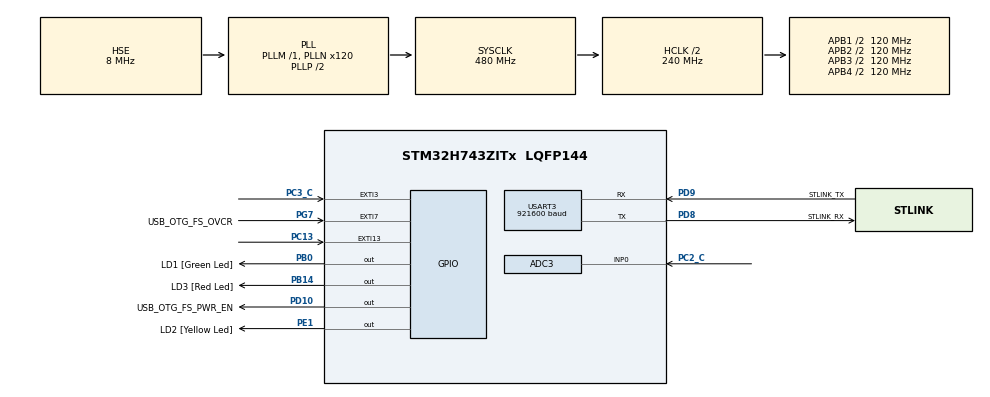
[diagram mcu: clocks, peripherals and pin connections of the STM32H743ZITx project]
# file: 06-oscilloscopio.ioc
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ADC3.Channel-0\#ChannelRegularConversion=ADC_CHANNEL_TEMPSENSOR
ADC3.ExternalTrigConv=ADC_EXTERNALTRIG_T2_TRGO
ADC3.NbrOfConversionFlag=1
ADC3.OffsetNumber-0\#ChannelRegularConversion=ADC_OFFSET_NONE
ADC3.OffsetSignedSaturation-0\#ChannelRegularConversion=DISABLE
ADC3.Rank-0\#ChannelRegularConversion=1
ADC3.SamplingTime-0\#ChannelRegularConversion=ADC_SAMPLETIME_1CYCLE_5
Dma.ADC3.0.Direction=DMA_PERIPH_TO_MEMORY
Dma.ADC3.0.EventEnable=DISABLE
Dma.ADC3.0.FIFOMode=DMA_FIFOMODE_DISABLE
Dma.ADC3.0.Instance=DMA2_Stream0
Dma.ADC3.0.MemDataAlignment=DMA_MDATAALIGN_HALFWORD
Dma.ADC3.0.MemInc=DMA_MINC_ENABLE
Dma.ADC3.0.Mode=DMA_NORMAL
Dma.ADC3.0.PeriphDataAlignment=DMA_PDATAALIGN_HALFWORD
Dma.ADC3.0.PeriphInc=DMA_PINC_DISABLE
Dma.ADC3.0.Polarity=HAL_DMAMUX_REQ_GEN_RISING
Dma.ADC3.0.Priority=DMA_PRIORITY_LOW
Dma.ADC3.0.RequestNumber=1
Dma.ADC3.0.SignalID=NONE
Dma.ADC3.0.SyncEnable=DISABLE
Dma.ADC3.0.SyncPolarity=HAL_DMAMUX_SYNC_NO_EVENT
Dma.ADC3.0.SyncRequestNumber=1
Dma.ADC3.0.SyncSignalID=NONE
Dma.Request0=ADC3
Dma.Request1=USART3_TX
Dma.USART3_TX.1.Direction=DMA_MEMORY_TO_PERIPH
Dma.USART3_TX.1.EventEnable=DISABLE
Dma.USART3_TX.1.FIFOMode=DMA_FIFOMODE_DISABLE
Dma.USART3_TX.1.Instance=DMA1_Stream3
Dma.USART3_TX.1.MemDataAlignment=DMA_MDATAALIGN_BYTE
Dma.USART3_TX.1.MemInc=DMA_MINC_ENABLE
Dma.USART3_TX.1.Mode=DMA_NORMAL
Dma.USART3_TX.1.PeriphDataAlignment=DMA_PDATAALIGN_BYTE
Dma.USART3_TX.1.PeriphInc=DMA_PINC_DISABLE
Dma.USART3_TX.1.Polarity=HAL_DMAMUX_REQ_GEN_RISING
Dma.USART3_TX.1.Priority=DMA_PRIORITY_LOW
Dma.USART3_TX.1.RequestNumber=1
Dma.USART3_TX.1.SignalID=NONE
Dma.USART3_TX.1.SyncEnable=DISABLE
Dma.USART3_TX.1.SyncPolarity=HAL_DMAMUX_SYNC_NO_EVENT
Dma.USART3_TX.1.SyncRequestNumber=1
Dma.USART3_TX.1.SyncSignalID=NONE
Mcu.Family=STM32H7
Mcu.Name=STM32H743ZITx
Mcu.Package=LQFP144
NVIC.ADC3_IRQn=true\:0\:0\:false\:false\:true\:true\:true\:true
NVIC.DMA1_Stream3_IRQn=true\:0\:0\:false\:false\:true\:false\:true\:true
NVIC.DMA2_Stream0_IRQn=true\:0\:0\:false\:false\:true\:false\:true\:true
NVIC.EXTI15_10_IRQn=true\:0\:0\:false\:false\:true\:true\:true\:true
NVIC.EXTI3_IRQn=true\:0\:0\:false\:false\:true\:true\:true\:true
NVIC.PriorityGroup=NVIC_PRIORITYGROUP_4
NVIC.TIM3_IRQn=true\:0\:0\:false\:false\:true\:true\:true\:true
NVIC.USART3_IRQn=true\:0\:0\:false\:false\:true\:true\:true\:true
PB0.GPIO_Label=LD1 [Green Led]
PB0.Signal=GPIO_Output
PB14.GPIO_Label=LD3 [Red Led]
PB14.Signal=GPIO_Output
PC13.Signal=GPXTI13
PC2_C.Mode=IN0-Single-Ended
PC2_C.Signal=ADC3_INP0
PC3_C.Signal=GPXTI3
PD10.GPIO_Label=USB_OTG_FS_PWR_EN
PD10.Signal=GPIO_Output
PD8.GPIO_Label=STLINK_RX
PD8.Mode=Asynchronous
PD8.Signal=USART3_TX
PD9.GPIO_Label=STLINK_TX
PD9.Mode=Asynchronous
PD9.Signal=USART3_RX
PE1.GPIO_Label=LD2 [Yellow Led]
PE1.Signal=GPIO_Output
PG7.GPIO_Label=USB_OTG_FS_OVCR
PG7.Signal=GPXTI7
PH0-OSC_IN\ (PH0).Mode=HSE-External-Clock-Source
PH0-OSC_IN\ (PH0).Signal=RCC_OSC_IN
ProjectManager.HeapSize=0x200
ProjectManager.StackSize=0x400
ProjectManager.TargetToolchain=STM32CubeIDE
RCC.ADCFreq_Value=75000000
RCC.APB1Freq_Value=120000000
RCC.APB2Freq_Value=120000000
RCC.APB3Freq_Value=120000000
RCC.APB4Freq_Value=120000000
RCC.CortexFreq_Value=480000000
RCC.D1PPRE=RCC_APB3_DIV2
RCC.D2PPRE1=RCC_APB1_DIV2
RCC.D2PPRE2=RCC_APB2_DIV2
RCC.D3PPRE=RCC_APB4_DIV2
RCC.DIVM1=1
RCC.DIVM2=1
RCC.DIVN1=120
RCC.DIVN2=18
RCC.HCLKFreq_Value=240000000
RCC.HPRE=RCC_HCLK_DIV2
RCC.HSE_VALUE=8000000
RCC.PLL2FRACN=6144
RCC.PLL3FRACN=0
RCC.PLLFRACN=0
RCC.PLLSourceVirtual=RCC_PLLSOURCE_HSE
RCC.PWR_Regulator_Voltage_Scale=PWR_REGULATOR_VOLTAGE_SCALE0
RCC.SYSCLKFreq_VALUE=480000000
RCC.SYSCLKSource=RCC_SYSCLKSOURCE_PLLCLK
RCC.USBFreq_Value=480000000
TIM2.TIM_MasterOutputTrigger=TIM_TRGO_UPDATE
TIM3.TIM_MasterOutputTrigger=TIM_TRGO_OC1REF
USART3.BaudRate=921600
USART3.VirtualMode-Asynchronous=VM_ASYNC
VP_ADC3_TempSens_Input.Mode=IN-TempSens
VP_ADC3_Vref_Input.Mode=IN-Vrefint
VP_MEMORYMAP_VS_MEMORYMAP.Mode=CurAppReg
VP_TIM2_VS_ClockSourceINT.Mode=Internal
VP_TIM3_VS_ClockSourceITR.Mode=TriggerSource_ITR1
VP_TIM3_VS_ControllerModeClock.Mode=Clock Mode
VP_TIM4_VS_ClockSourceITR.Mode=TriggerSource_ITR1
VP_TIM4_VS_ControllerModeClock.Mode=Clock Mode
board=NUCLEO-H743ZI2

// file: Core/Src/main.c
/* USER CODE BEGIN Header */
/**
  ******************************************************************************
  * @file           : main.c
  * @brief          : Main program body
  ******************************************************************************
  * @attention
  *
  * Copyright (c) 2024 STMicroelectronics.
  * All rights reserved.
  *
  * This software is licensed under terms that can be found in the LICENSE file
  * in the root directory of this software component.
  * If no LICENSE file comes with this software, it is provided AS-IS.
  *
  ******************************************************************************
  */
/* USER CODE END Header */
#include "main.h"

/* USER CODE BEGIN Includes */
#include "lz_adc.h"
#include "lz_serial.h"
#include "lz_uart.h"
/* USER CODE END Includes */

/* USER CODE BEGIN PD */
#define LZ_VREFINT 19
#define LZ_VSIGNAL 0
/* USER CODE END PD */

/* USER CODE BEGIN PM */
#define MIN(a, b) (((a) < (b)) ? (a) : (b))
#define MAX(a, b) (((a) > (b)) ? (a) : (b))
/* USER CODE END PM */

ADC_HandleTypeDef hadc3;
DMA_HandleTypeDef hdma_adc3;

TIM_HandleTypeDef htim2;
TIM_HandleTypeDef htim3;
TIM_HandleTypeDef htim4;

UART_HandleTypeDef huart3;
DMA_HandleTypeDef hdma_usart3_tx;

/* USER CODE BEGIN PV */
volatile uint16_t gBuffer[1024];
static_assert((sizeof(gBuffer) & (sizeof(gBuffer) - 1)) == 0, "Queue size must be a power of 2");

volatile uint32_t still_to_transmit = 0;
volatile uint8_t is_tx_transmitting_dma = 0;
volatile uint8_t is_triggered = 0;
volatile uint8_t manual_trigger = 0;
uint32_t missed_triggers = 0;
/* USER CODE END PV */

void SystemClock_Config(void);
static void MX_GPIO_Init(void);
static void MX_DMA_Init(void);
static void MX_ADC3_Init(void);
static void MX_USART3_UART_Init(void);
static void MX_TIM2_Init(void);
static void MX_TIM3_Init(void);
static void MX_TIM4_Init(void);

/* USER CODE BEGIN 0 */
struct lz_settings
{
	uint32_t arr;
	uint16_t total_points;
	int16_t trigger_offset;
	uint8_t trigger_source;
	uint8_t continuous_mode;
	uint16_t threshold_high;
	uint16_t threshold_low;
} gSettings;

enum {
	LZ_IDLE, LZ_SEND_SETTINGS, LZ_UPDATE_SETTINGS, LZ_MISSED_TRIGGERS
} gState = LZ_IDLE;

volatile uint8_t gRxReadingData = 0;
uint8_t __lz_serial_new_character_read(char c) {
	if (!gRxReadingData)
	{
		switch (c) {
		case 'u':
			gState = LZ_UPDATE_SETTINGS;
			return 1;
		case 's':
			gState = LZ_SEND_SETTINGS;
			return 1;
		case 'm':
			gState = LZ_MISSED_TRIGGERS;
			return 1;
		case 't':
			//void onTrigger(void);
			manual_trigger = 1;
			//onTrigger();
			return 1;
		default:
			break;
		}
	}

	return 0;
}

void __lz_serial_error_tx_buffer_full(void) {
	GPIOE->BSRR = GPIO_BSRR_BS1;
}

void __lz_serial_error_rx_buffer_full(void) {
	GPIOB->BSRR = GPIO_BSRR_BS14;
	Error_Handler();
}

void applySettings(const struct lz_settings* settings)
{
	assert(!(ADC3->CR & ADC_CR_ADSTART)); // check ADC not measuring

	// configure sampling frequency
	TIM2->ARR = settings->arr;
	TIM2->CNT = 0;

	// configure pretrigger / trigger delay
	TIM3->ARR = settings->total_points + settings->trigger_offset;

	// configure DMA lost conversion check
	TIM4->ARR = sizeof(gBuffer) / sizeof(uint16_t) - 1;

	// TODO: configure continuous mode (don't know what I wanted to implement)

	// configure trigger
	ADC3->IER &= ~(ADC_IER_AWD2IE | ADC_IER_AWD3IE);
	EXTI->IMR1 &= ~EXTI_IMR1_IM3;

	switch (settings->trigger_source)
	{
	case 1:
		break;

	case 2:
		ADC3->LTR2 = settings->threshold_low;
		ADC3->HTR2 = 0xFFFF;
		ADC3->LTR3 = 0;
		ADC3->HTR3 = settings->threshold_high;

		ADC3->IER = ADC_IER_AWD3IE;
		break;

	case 3:
		EXTI->IMR1 |= EXTI_IMR1_IM3;
		break;

	default:
	}

	is_triggered = 0;
}

void startAdc(void)
{
	ADC3->CR |= ADC_CR_ADSTART;
	TIM2->CR1 |= TIM_CR1_CEN;
}

void startCircularBuffer(void)
{
	// Setup ADC circular buffer
	DMA2_Stream0->PAR = (uint32_t)&ADC3->DR;
	DMA2_Stream0->M0AR = (uint32_t)&gBuffer;
	DMA2_Stream0->NDTR = sizeof(gBuffer) / sizeof(uint16_t);
	DMA2_Stream0->CR |= DMA_SxCR_CIRC;

	// Clear flags
	DMA2->LIFCR = DMA_LIFCR_CDMEIF0 | DMA_LIFCR_CFEIF0 | DMA_LIFCR_CHTIF0 | DMA_LIFCR_CTCIF0 | DMA_LIFCR_CTEIF0;

	// Enable check and circular buffer
	TIM2->CR1 &= ~TIM_CR1_CEN;

	TIM4->CR1 |= TIM_CR1_CEN;
	DMA2_Stream0->CR |= DMA_SxCR_EN;
	TIM4->CNT = sizeof(gBuffer) / sizeof(uint16_t) - DMA2_Stream0->NDTR;

	TIM2->CR1 |= TIM_CR1_CEN;
}

void stopAll(void)
{
	TIM2->CR1 &= ~TIM_CR1_CEN; // sample clock
	TIM3->CR1 &= ~TIM_CR1_CEN; // pretrigger clock
	TIM4->CR1 &= ~TIM_CR1_CEN; // DMA circular buffer check

	ADC3->CR |= ADC_CR_ADSTP;

	DMA2_Stream0->CR &= ~DMA_SxCR_EN;

	// Wait for ADC to stop, ADC DMA to stop and USART DMA transmission to stop (wait for end of tx)
	while ((ADC3->CR & ADC_CR_ADSTART) || (DMA2_Stream0->CR & DMA_SxCR_EN) || is_tx_transmitting_dma)
	{}
}

void onTrigger(void)
{
	if (is_triggered)
	{
		return;
	}

	if (is_tx_transmitting_dma)
	{
		missed_triggers++;
		return;
	}

	if (gSettings.trigger_source == 2 && !gSettings.continuous_mode && !manual_trigger)
	{
		return;
	}

	manual_trigger = 0;
	is_triggered = 1;

	TIM3->CNT = 1;// + (gSettings.trigger_source == 2) * (TIM2->CNT - cnt1); // start counting post-trigger
	TIM3->CR1 |= TIM_CR1_CEN;
	//TIM3->CNT = 1 + (gSettings.trigger_source == 2) * (TIM2->CNT - cnt1); // start counting post-trigger

	GPIOB->BSRR = GPIO_BSRR_BS0;
}

void onEndMeasurement(void)
{
	if (!is_triggered)
		return;

	// stop DMA ADC and TIM4
	TIM2->CR1 &= ~TIM_CR1_CEN;

	TIM4->CR1 &= ~TIM_CR1_CEN;
	DMA2_Stream0->CR &= ~DMA_SxCR_EN;

	//TIM2->CR1 |= TIM_CR1_CEN;

	// check if DMA and TIM4 are in sync
	uint32_t succ_idx = sizeof(gBuffer)/sizeof(uint16_t) - DMA2_Stream0->NDTR;
	uint32_t timer_idx = TIM4->CNT;
	if (succ_idx - timer_idx > 2)
	{
		//Error_Handler();
	}

	uint16_t init_idx = (succ_idx - gSettings.total_points) & (sizeof(gBuffer) / sizeof(uint16_t) - 1);
	uint16_t till_end = sizeof(gBuffer)/sizeof(uint16_t) - init_idx;

	uint16_t num_to_read = MIN(gSettings.total_points, till_end);
	still_to_transmit = MAX(0, (int32_t)gSettings.total_points - (int32_t)num_to_read);

	// enable USART3 DMA
	is_tx_transmitting_dma = 1;

	DMA1_Stream3->PAR = (uint32_t)&USART3->TDR;
	DMA1_Stream3->M0AR = (uint32_t)(gBuffer + init_idx);
	DMA1_Stream3->NDTR = num_to_read * sizeof(uint16_t);
	USART3->CR3 |= USART_CR3_DMAT;

	DMA1->LIFCR = DMA_LIFCR_CDMEIF3 | DMA_LIFCR_CFEIF3 | DMA_LIFCR_CHTIF3 | DMA_LIFCR_CTCIF3 | DMA_LIFCR_CTEIF3;

	DMA1_Stream3->CR |= DMA_SxCR_EN;
}

void onTxTransmissionComplete(void)
{
	if (still_to_transmit > 0)
	{
		// Transmit remaining measurements
		DMA1_Stream3->PAR = (uint32_t)&USART3->TDR;
		DMA1_Stream3->M0AR = (uint32_t)&gBuffer;
		DMA1_Stream3->NDTR = still_to_transmit * sizeof(uint16_t);
		USART3->CR3 |= USART_CR3_DMAT;

		DMA1->LIFCR = DMA_LIFCR_CDMEIF3 | DMA_LIFCR_CFEIF3 | DMA_LIFCR_CHTIF3 | DMA_LIFCR_CTCIF3 | DMA_LIFCR_CTEIF3;

		still_to_transmit = 0;

		DMA1_Stream3->CR |= DMA_SxCR_EN;
	}
	else
	{
		// Done
		is_tx_transmitting_dma = 0;
		is_triggered = 0;

		// Reharm only if ADC is running
		if (ADC3->CR & ADC_CR_ADSTART)
		{
			GPIOB->BSRR = GPIO_BSRR_BR0;
			startCircularBuffer();
			startAdc();
		}
	}
}

/* USER CODE END 0 */

int main(void)
{

  /* MCU Configuration--------------------------------------------------------*/

  /* Reset of all peripherals, Initializes the Flash interface and the Systick. */
  HAL_Init();

  /* Configure the system clock */
  SystemClock_Config();

  /* Initialize all configured peripherals */
  MX_GPIO_Init();
  MX_DMA_Init();
  MX_ADC3_Init();
  MX_USART3_UART_Init();
  MX_TIM2_Init();
  MX_TIM3_Init();
  MX_TIM4_Init();
  /* USER CODE BEGIN 2 */

  // Setup ADC
  lz_adc_prepare_channel(LZ_VREFINT, LZ_ST_810_5_CLOCK);
  lz_adc_prepare_channel(LZ_VSIGNAL, LZ_ST_1_5_CLOCK);

  lz_adc_calibration();
  lz_adc_enable();
  LZ_ADC_SEQUENCE(LZ_VSIGNAL);

  // Monitor VSIGNAL with AWD2 and AWD3
  ADC3->AWD2CR = 1 << LZ_VSIGNAL;
  ADC3->AWD3CR = 1 << LZ_VSIGNAL;

  ADC3->IER |= ADC_IER_OVRIE;

  // Configure circular mode DMA
  ADC3->CFGR |= 3 << ADC_CFGR_DMNGT_Pos;

  // Overrun mode (debug purpose only)
  ADC3->CFGR |= ADC_CFGR_OVRMOD;

  // Enable TIM3 interrupt (end of post-trigger)
  TIM3->DIER |= TIM_DIER_UIE;
  TIM3->CR1 |= TIM_CR1_OPM;

  // Enable USART
  lz_uart_setup();
  lz_uart_tx_disable_interrupt();

  USART3->CR3 |= USART_CR3_DMAT;
  DMA1_Stream3->CR |= DMA_SxCR_TCIE;

  // Initial settings
  gSettings.arr = 95000;
  gSettings.continuous_mode = 1;
  gSettings.threshold_high = 21845;
  gSettings.threshold_low = 16384;
  gSettings.total_points = 256;
  gSettings.trigger_offset = 0;
  gSettings.trigger_source = 3;

  applySettings(&gSettings);

  startCircularBuffer();
  startAdc();

  /* USER CODE END 2 */

  /* Infinite loop */
  while (1)
  {

    /* USER CODE BEGIN 3 */
	  switch (gState)
	  {
	  case LZ_SEND_SETTINGS:
		  stopAll();
		  lz_uart_tx_enable_interrupt();

		  lz_serial_send_binary(&gSettings.arr, sizeof(gSettings.arr));
		  lz_serial_send_binary(&gSettings.total_points, sizeof(gSettings.total_points));
		  lz_serial_send_binary(&gSettings.trigger_offset, sizeof(gSettings.trigger_offset));
		  lz_serial_send_binary(&gSettings.continuous_mode, sizeof(gSettings.continuous_mode));
		  lz_serial_send_binary(&gSettings.trigger_source, sizeof(gSettings.trigger_source));

		  lz_serial_send_binary(&gSettings.threshold_high, sizeof(gSettings.threshold_high));
		  lz_serial_send_binary(&gSettings.threshold_low, sizeof(gSettings.threshold_low));

		  lz_uart_tx_disable_interrupt();

		  startAdc();
		  startCircularBuffer();

		  gState = LZ_IDLE;
		  break;

	  case LZ_UPDATE_SETTINGS:
		  stopAll();

		  gRxReadingData = 1;
		  lz_serial_read(&gSettings.arr, sizeof(gSettings.arr));
		  lz_serial_read(&gSettings.total_points, sizeof(gSettings.total_points));
		  lz_serial_read(&gSettings.trigger_offset, sizeof(gSettings.trigger_offset));
		  lz_serial_read(&gSettings.continuous_mode, sizeof(gSettings.continuous_mode));
		  lz_serial_read(&gSettings.trigger_source, sizeof(gSettings.trigger_source));

		  lz_serial_read(&gSettings.threshold_high, sizeof(gSettings.threshold_high));
		  lz_serial_read(&gSettings.threshold_low, sizeof(gSettings.threshold_low));

		  gRxReadingData = 0;

		  applySettings(&gSettings);
		  startAdc();
		  startCircularBuffer();

		  gState = LZ_IDLE;
		  break;

	  case LZ_MISSED_TRIGGERS:
		  stopAll();
		  lz_uart_tx_enable_interrupt();

		  lz_serial_send_binary(&missed_triggers, sizeof(missed_triggers));

		  lz_uart_tx_disable_interrupt();

		  startAdc();
		  startCircularBuffer();

		  gState = LZ_IDLE;
		  break;

	  case LZ_IDLE:
		  break;
	  }
  }
  /* USER CODE END 3 */
}

void SystemClock_Config(void)
{
  RCC_OscInitTypeDef RCC_OscInitStruct = {0};
  RCC_ClkInitTypeDef RCC_ClkInitStruct = {0};

  /** Supply configuration update enable
  */
  HAL_PWREx_ConfigSupply(PWR_LDO_SUPPLY);

  /** Configure the main internal regulator output voltage
  */
  __HAL_PWR_VOLTAGESCALING_CONFIG(PWR_REGULATOR_VOLTAGE_SCALE1);

  while(!__HAL_PWR_GET_FLAG(PWR_FLAG_VOSRDY)) {}

  __HAL_RCC_SYSCFG_CLK_ENABLE();
  __HAL_PWR_VOLTAGESCALING_CONFIG(PWR_REGULATOR_VOLTAGE_SCALE0);

  while(!__HAL_PWR_GET_FLAG(PWR_FLAG_VOSRDY)) {}

  /** Initializes the RCC Oscillators according to the specified parameters
  * in the RCC_OscInitTypeDef structure.
  */
  RCC_OscInitStruct.OscillatorType = RCC_OSCILLATORTYPE_HSE;
  RCC_OscInitStruct.HSEState = RCC_HSE_BYPASS;
  RCC_OscInitStruct.PLL.PLLState = RCC_PLL_ON;
  RCC_OscInitStruct.PLL.PLLSource = RCC_PLLSOURCE_HSE;
  RCC_OscInitStruct.PLL.PLLM = 1;
  RCC_OscInitStruct.PLL.PLLN = 120;
  RCC_OscInitStruct.PLL.PLLP = 2;
  RCC_OscInitStruct.PLL.PLLQ = 2;
  RCC_OscInitStruct.PLL.PLLR = 2;
  RCC_OscInitStruct.PLL.PLLRGE = RCC_PLL1VCIRANGE_3;
  RCC_OscInitStruct.PLL.PLLVCOSEL = RCC_PLL1VCOWIDE;
  RCC_OscInitStruct.PLL.PLLFRACN = 0;
  if (HAL_RCC_OscConfig(&RCC_OscInitStruct) != HAL_OK)
  {
    Error_Handler();
  }

  /** Initializes the CPU, AHB and APB buses clocks
  */
  RCC_ClkInitStruct.ClockType = RCC_CLOCKTYPE_HCLK|RCC_CLOCKTYPE_SYSCLK
                              |RCC_CLOCKTYPE_PCLK1|RCC_CLOCKTYPE_PCLK2
                              |RCC_CLOCKTYPE_D3PCLK1|RCC_CLOCKTYPE_D1PCLK1;
  RCC_ClkInitStruct.SYSCLKSource = RCC_SYSCLKSOURCE_PLLCLK;
  RCC_ClkInitStruct.SYSCLKDivider = RCC_SYSCLK_DIV1;
  RCC_ClkInitStruct.AHBCLKDivider = RCC_HCLK_DIV2;
  RCC_ClkInitStruct.APB3CLKDivider = RCC_APB3_DIV2;
  RCC_ClkInitStruct.APB1CLKDivider = RCC_APB1_DIV2;
  RCC_ClkInitStruct.APB2CLKDivider = RCC_APB2_DIV2;
  RCC_ClkInitStruct.APB4CLKDivider = RCC_APB4_DIV2;

  if (HAL_RCC_ClockConfig(&RCC_ClkInitStruct, FLASH_LATENCY_4) != HAL_OK)
  {
    Error_Handler();
  }
}

static void MX_ADC3_Init(void)
{

  ADC_ChannelConfTypeDef sConfig = {0};

  /** Common config
  */
  hadc3.Instance = ADC3;
  hadc3.Init.ClockPrescaler = ADC_CLOCK_ASYNC_DIV1;
  hadc3.Init.ScanConvMode = ADC_SCAN_DISABLE;
  hadc3.Init.EOCSelection = ADC_EOC_SINGLE_CONV;
  hadc3.Init.LowPowerAutoWait = DISABLE;
  hadc3.Init.ContinuousConvMode = DISABLE;
  hadc3.Init.NbrOfConversion = 1;
  hadc3.Init.DiscontinuousConvMode = DISABLE;
  hadc3.Init.ExternalTrigConv = ADC_EXTERNALTRIG_T2_TRGO;
  hadc3.Init.ExternalTrigConvEdge = ADC_EXTERNALTRIGCONVEDGE_RISING;
  hadc3.Init.ConversionDataManagement = ADC_CONVERSIONDATA_DR;
  hadc3.Init.Overrun = ADC_OVR_DATA_PRESERVED;
  hadc3.Init.LeftBitShift = ADC_LEFTBITSHIFT_NONE;
  hadc3.Init.OversamplingMode = DISABLE;
  hadc3.Init.Oversampling.Ratio = 1;
  if (HAL_ADC_Init(&hadc3) != HAL_OK)
  {
    Error_Handler();
  }
  hadc3.Init.Resolution = ADC_RESOLUTION_16B;
  if (HAL_ADC_Init(&hadc3) != HAL_OK)
  {
    Error_Handler();
  }

  /** Configure Regular Channel
  */
  sConfig.Channel = ADC_CHANNEL_TEMPSENSOR;
  sConfig.Rank = ADC_REGULAR_RANK_1;
  sConfig.SamplingTime = ADC_SAMPLETIME_1CYCLE_5;
  sConfig.SingleDiff = ADC_SINGLE_ENDED;
  sConfig.OffsetNumber = ADC_OFFSET_NONE;
  sConfig.Offset = 0;
  sConfig.OffsetSignedSaturation = DISABLE;
  if (HAL_ADC_ConfigChannel(&hadc3, &sConfig) != HAL_OK)
  {
    Error_Handler();
  }

}

static void MX_TIM2_Init(void)
{

  TIM_ClockConfigTypeDef sClockSourceConfig = {0};
  TIM_MasterConfigTypeDef sMasterConfig = {0};

  htim2.Instance = TIM2;
  htim2.Init.Prescaler = 0;
  htim2.Init.CounterMode = TIM_COUNTERMODE_UP;
  htim2.Init.Period = 4294967295;
  htim2.Init.ClockDivision = TIM_CLOCKDIVISION_DIV1;
  htim2.Init.AutoReloadPreload = TIM_AUTORELOAD_PRELOAD_DISABLE;
  if (HAL_TIM_Base_Init(&htim2) != HAL_OK)
  {
    Error_Handler();
  }
  sClockSourceConfig.ClockSource = TIM_CLOCKSOURCE_INTERNAL;
  if (HAL_TIM_ConfigClockSource(&htim2, &sClockSourceConfig) != HAL_OK)
  {
    Error_Handler();
  }
  sMasterConfig.MasterOutputTrigger = TIM_TRGO_UPDATE;
  sMasterConfig.MasterSlaveMode = TIM_MASTERSLAVEMODE_DISABLE;
  if (HAL_TIMEx_MasterConfigSynchronization(&htim2, &sMasterConfig) != HAL_OK)
  {
    Error_Handler();
  }

}

static void MX_TIM3_Init(void)
{

  TIM_SlaveConfigTypeDef sSlaveConfig = {0};
  TIM_MasterConfigTypeDef sMasterConfig = {0};

  htim3.Instance = TIM3;
  htim3.Init.Prescaler = 0;
  htim3.Init.CounterMode = TIM_COUNTERMODE_UP;
  htim3.Init.Period = 65535;
  htim3.Init.ClockDivision = TIM_CLOCKDIVISION_DIV1;
  htim3.Init.AutoReloadPreload = TIM_AUTORELOAD_PRELOAD_DISABLE;
  if (HAL_TIM_Base_Init(&htim3) != HAL_OK)
  {
    Error_Handler();
  }
  sSlaveConfig.SlaveMode = TIM_SLAVEMODE_EXTERNAL1;
  sSlaveConfig.InputTrigger = TIM_TS_ITR1;
  if (HAL_TIM_SlaveConfigSynchro(&htim3, &sSlaveConfig) != HAL_OK)
  {
    Error_Handler();
  }
  sMasterConfig.MasterOutputTrigger = TIM_TRGO_OC1REF;
  sMasterConfig.MasterSlaveMode = TIM_MASTERSLAVEMODE_DISABLE;
  if (HAL_TIMEx_MasterConfigSynchronization(&htim3, &sMasterConfig) != HAL_OK)
  {
    Error_Handler();
  }

}

static void MX_TIM4_Init(void)
{

  TIM_SlaveConfigTypeDef sSlaveConfig = {0};
  TIM_MasterConfigTypeDef sMasterConfig = {0};

  htim4.Instance = TIM4;
  htim4.Init.Prescaler = 0;
  htim4.Init.CounterMode = TIM_COUNTERMODE_UP;
  htim4.Init.Period = 65535;
  htim4.Init.ClockDivision = TIM_CLOCKDIVISION_DIV1;
  htim4.Init.AutoReloadPreload = TIM_AUTORELOAD_PRELOAD_DISABLE;
  if (HAL_TIM_Base_Init(&htim4) != HAL_OK)
  {
    Error_Handler();
  }
  sSlaveConfig.SlaveMode = TIM_SLAVEMODE_EXTERNAL1;
  sSlaveConfig.InputTrigger = TIM_TS_ITR1;
  if (HAL_TIM_SlaveConfigSynchro(&htim4, &sSlaveConfig) != HAL_OK)
  {
    Error_Handler();
  }
  sMasterConfig.MasterOutputTrigger = TIM_TRGO_RESET;
  sMasterConfig.MasterSlaveMode = TIM_MASTERSLAVEMODE_DISABLE;
  if (HAL_TIMEx_MasterConfigSynchronization(&htim4, &sMasterConfig) != HAL_OK)
  {
    Error_Handler();
  }

}

static void MX_USART3_UART_Init(void)
{

  huart3.Instance = USART3;
  huart3.Init.BaudRate = 921600;
  huart3.Init.WordLength = UART_WORDLENGTH_8B;
  huart3.Init.StopBits = UART_STOPBITS_1;
  huart3.Init.Parity = UART_PARITY_NONE;
  huart3.Init.Mode = UART_MODE_TX_RX;
  huart3.Init.HwFlowCtl = UART_HWCONTROL_NONE;
  huart3.Init.OverSampling = UART_OVERSAMPLING_16;
  huart3.Init.OneBitSampling = UART_ONE_BIT_SAMPLE_DISABLE;
  huart3.Init.ClockPrescaler = UART_PRESCALER_DIV1;
  huart3.AdvancedInit.AdvFeatureInit = UART_ADVFEATURE_NO_INIT;
  if (HAL_UART_Init(&huart3) != HAL_OK)
  {
    Error_Handler();
  }
  if (HAL_UARTEx_SetTxFifoThreshold(&huart3, UART_TXFIFO_THRESHOLD_1_8) != HAL_OK)
  {
    Error_Handler();
  }
  if (HAL_UARTEx_SetRxFifoThreshold(&huart3, UART_RXFIFO_THRESHOLD_1_8) != HAL_OK)
  {
    Error_Handler();
  }
  if (HAL_UARTEx_DisableFifoMode(&huart3) != HAL_OK)
  {
    Error_Handler();
  }

}

static void MX_DMA_Init(void)
{

  /* DMA controller clock enable */
  __HAL_RCC_DMA2_CLK_ENABLE();
  __HAL_RCC_DMA1_CLK_ENABLE();

  /* DMA interrupt init */
  /* DMA1_Stream3_IRQn interrupt configuration */
  HAL_NVIC_SetPriority(DMA1_Stream3_IRQn, 0, 0);
  HAL_NVIC_EnableIRQ(DMA1_Stream3_IRQn);
  /* DMA2_Stream0_IRQn interrupt configuration */
  HAL_NVIC_SetPriority(DMA2_Stream0_IRQn, 0, 0);
  HAL_NVIC_EnableIRQ(DMA2_Stream0_IRQn);

}

static void MX_GPIO_Init(void)
{
  GPIO_InitTypeDef GPIO_InitStruct = {0};

  /* GPIO Ports Clock Enable */
  __HAL_RCC_GPIOC_CLK_ENABLE();
  __HAL_RCC_GPIOH_CLK_ENABLE();
  __HAL_RCC_GPIOB_CLK_ENABLE();
  __HAL_RCC_GPIOD_CLK_ENABLE();
  __HAL_RCC_GPIOG_CLK_ENABLE();
  __HAL_RCC_GPIOE_CLK_ENABLE();

  /*Configure GPIO pin Output Level */
  HAL_GPIO_WritePin(GPIOB, LD1_Pin|LD3_Pin, GPIO_PIN_RESET);

  /*Configure GPIO pin Output Level */
  HAL_GPIO_WritePin(USB_OTG_FS_PWR_EN_GPIO_Port, USB_OTG_FS_PWR_EN_Pin, GPIO_PIN_RESET);

  /*Configure GPIO pin Output Level */
  HAL_GPIO_WritePin(LD2_GPIO_Port, LD2_Pin, GPIO_PIN_RESET);

  /*Configure GPIO pins : PC13 PC3 */
  GPIO_InitStruct.Pin = GPIO_PIN_13|GPIO_PIN_3;
  GPIO_InitStruct.Mode = GPIO_MODE_IT_RISING;
  GPIO_InitStruct.Pull = GPIO_NOPULL;
  HAL_GPIO_Init(GPIOC, &GPIO_InitStruct);

  /*Configure GPIO pins : LD1_Pin LD3_Pin */
  GPIO_InitStruct.Pin = LD1_Pin|LD3_Pin;
  GPIO_InitStruct.Mode = GPIO_MODE_OUTPUT_PP;
  GPIO_InitStruct.Pull = GPIO_NOPULL;
  GPIO_InitStruct.Speed = GPIO_SPEED_FREQ_LOW;
  HAL_GPIO_Init(GPIOB, &GPIO_InitStruct);

  /*Configure GPIO pin : USB_OTG_FS_PWR_EN_Pin */
  GPIO_InitStruct.Pin = USB_OTG_FS_PWR_EN_Pin;
  GPIO_InitStruct.Mode = GPIO_MODE_OUTPUT_PP;
  GPIO_InitStruct.Pull = GPIO_NOPULL;
  GPIO_InitStruct.Speed = GPIO_SPEED_FREQ_LOW;
  HAL_GPIO_Init(USB_OTG_FS_PWR_EN_GPIO_Port, &GPIO_InitStruct);

  /*Configure GPIO pin : USB_OTG_FS_OVCR_Pin */
  GPIO_InitStruct.Pin = USB_OTG_FS_OVCR_Pin;
  GPIO_InitStruct.Mode = GPIO_MODE_IT_RISING;
  GPIO_InitStruct.Pull = GPIO_NOPULL;
  HAL_GPIO_Init(USB_OTG_FS_OVCR_GPIO_Port, &GPIO_InitStruct);

  /*Configure GPIO pin : LD2_Pin */
  GPIO_InitStruct.Pin = LD2_Pin;
  GPIO_InitStruct.Mode = GPIO_MODE_OUTPUT_PP;
  GPIO_InitStruct.Pull = GPIO_NOPULL;
  GPIO_InitStruct.Speed = GPIO_SPEED_FREQ_LOW;
  HAL_GPIO_Init(LD2_GPIO_Port, &GPIO_InitStruct);

  /* EXTI interrupt init*/
  HAL_NVIC_SetPriority(EXTI3_IRQn, 0, 0);
  HAL_NVIC_EnableIRQ(EXTI3_IRQn);

  HAL_NVIC_SetPriority(EXTI15_10_IRQn, 0, 0);
  HAL_NVIC_EnableIRQ(EXTI15_10_IRQn);

}

void Error_Handler(void)
{
  /* USER CODE BEGIN Error_Handler_Debug */
	GPIOB->BSRR = GPIO_BSRR_BS14;

  /* User can add his own implementation to report the HAL error return state */
  __disable_irq();
  while (1)
  {
  }
  /* USER CODE END Error_Handler_Debug */
}
